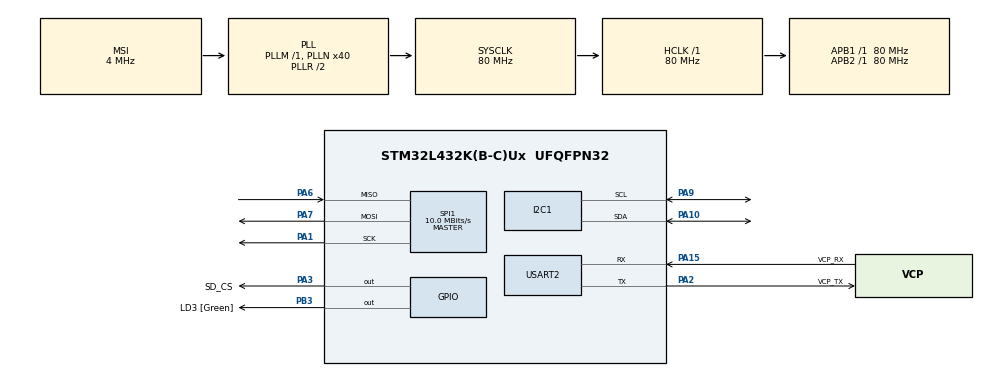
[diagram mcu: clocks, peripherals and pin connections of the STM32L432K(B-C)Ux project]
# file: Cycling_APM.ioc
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FATFS._MAX_SS=4096
FATFS._USE_LFN=1
I2C1.Timing=0x10909CEC
Mcu.Family=STM32L4
Mcu.Name=STM32L432K(B-C)Ux
Mcu.Package=UFQFPN32
NVIC.PriorityGroup=NVIC_PRIORITYGROUP_4
NVIC.TIM1_UP_TIM16_IRQn=true\:0\:0\:false\:false\:true\:true\:true\:true
PA0.GPIO_Label=MCO [High speed clock in]
PA0.Mode=HSE-External-Clock-Source-for-LittleOrca
PA0.Signal=RCC_CK_IN
PA1.Mode=Full_Duplex_Master
PA1.Signal=SPI1_SCK
PA10.Mode=I2C
PA10.Signal=I2C1_SDA
PA13\ (JTMS-SWDIO).GPIO_Label=SWDIO
PA13\ (JTMS-SWDIO).Mode=Serial_Wire
PA13\ (JTMS-SWDIO).Signal=SYS_JTMS-SWDIO
PA14\ (JTCK-SWCLK).GPIO_Label=SWCLK
PA14\ (JTCK-SWCLK).Mode=Serial_Wire
PA14\ (JTCK-SWCLK).Signal=SYS_JTCK-SWCLK
PA15\ (JTDI).GPIO_Label=VCP_RX
PA15\ (JTDI).Mode=Asynchronous
PA15\ (JTDI).Signal=USART2_RX
PA2.GPIO_Label=VCP_TX
PA2.Mode=Asynchronous
PA2.Signal=USART2_TX
PA3.GPIO_Label=SD_CS
PA3.Signal=GPIO_Output
PA6.Mode=Full_Duplex_Master
PA6.Signal=SPI1_MISO
PA7.Mode=Full_Duplex_Master
PA7.Signal=SPI1_MOSI
PA9.Mode=I2C
PA9.Signal=I2C1_SCL
PB3\ (JTDO-TRACESWO).GPIO_Label=LD3 [Green]
PB3\ (JTDO-TRACESWO).Signal=GPIO_Output
PC14-OSC32_IN\ (PC14).Mode=LSE-External-Oscillator
PC14-OSC32_IN\ (PC14).Signal=RCC_OSC32_IN
PC15-OSC32_OUT\ (PC15).Mode=LSE-External-Oscillator
PC15-OSC32_OUT\ (PC15).Signal=RCC_OSC32_OUT
ProjectManager.HeapSize=0x200
ProjectManager.StackSize=0x400
ProjectManager.TargetToolchain=STM32CubeIDE
RCC.ADCFreq_Value=16000000
RCC.AHBFreq_Value=80000000
RCC.APB1Freq_Value=80000000
RCC.APB1TimFreq_Value=80000000
RCC.APB2Freq_Value=80000000
RCC.APB2TimFreq_Value=80000000
RCC.CortexFreq_Value=80000000
RCC.HCLKFreq_Value=80000000
RCC.HSE_VALUE=8000000
RCC.HSI16_VALUE=16000000
RCC.HSI48_VALUE=48000000
RCC.HSI_VALUE=16000000
RCC.MSI_VALUE=4000000
RCC.PLLMUL=RCC_PLLMUL_4
RCC.PLLN=40
RCC.SYSCLKFreq_VALUE=80000000
RCC.SYSCLKSource=RCC_SYSCLKSOURCE_PLLCLK
RCC.USBFreq_Value=16000000
RCC.VCOOutputFreq_Value=160000000
SPI1.BaudRatePrescaler=SPI_BAUDRATEPRESCALER_8
SPI1.CalculateBaudRate=10.0 MBits/s
SPI1.DataSize=SPI_DATASIZE_8BIT
SPI1.Direction=SPI_DIRECTION_2LINES
SPI1.Mode=SPI_MODE_MASTER
SPI1.VirtualType=VM_MASTER
TIM16.Period=10000 - 1
TIM16.Prescaler=8000 - 1
USART2.VirtualMode-Asynchronous=VM_ASYNC
VP_FATFS_VS_Generic.Mode=User_defined
VP_TIM16_VS_ClockSourceINT.Mode=Enable_Timer
board=NUCLEO-L432KC

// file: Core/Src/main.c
/* USER CODE BEGIN Header */
/**
 ******************************************************************************
 * @file           : main.c
 * @brief          : Main program body
 ******************************************************************************
 * @attention
 *
 * Copyright (c) 2022 STMicroelectronics.
 * All rights reserved.
 *
 * This software is licensed under terms that can be found in the LICENSE file
 * in the root directory of this software component.
 * If no LICENSE file comes with this software, it is provided AS-IS.
 *
 ******************************************************************************
 */
/* USER CODE END Header */
#include "main.h"
#include "fatfs.h"

/* USER CODE BEGIN Includes */
#include "string.h"
#include "stdio.h"

#include "fatfs_sd.h"
#include "dfr_no2_co.h"
#include "particulate_matter.h"
#include "sht40.h"
#include "ds3231.h"
#include "MAFilter.h"
/* USER CODE END Includes */

I2C_HandleTypeDef hi2c1;

SPI_HandleTypeDef hspi1;

TIM_HandleTypeDef htim16;

UART_HandleTypeDef huart2;

/* USER CODE BEGIN PV */
MAFilter MA_PM[3];
MAFilter MA_MICS[2];

/* USER CODE END PV */

void SystemClock_Config(void);
static void MX_GPIO_Init(void);
static void MX_USART2_UART_Init(void);
static void MX_I2C1_Init(void);
static void MX_TIM16_Init(void);
static void MX_SPI1_Init(void);

/* USER CODE BEGIN 0 */

uint8_t warmUpTimer; //delete
char str1[80];  // delete

FATFS fs;	// File system
FIL fil;	// File
FRESULT fresult; // To store results
char buffer[1024]; // To store data

UINT br, bw; // File read/write count

/* Capacity related variables */
FATFS *pfs;
DWORD fre_clust;
uint32_t total, free_space;

/* Registers for interfacing with the sensor */

void send_uart(char *string) {
	uint8_t len = strlen(string);

	HAL_UART_Transmit(&huart2, (uint8_t*) string, len, 2000); // Transmit in blocking mode
}

/* To find the size of the data in the buffer */
int bufSize(char *buf) {
	int i = 0;
	while (*buf++ != '\0')
		i++;
	return i;
}

/* To clear the buffer */
void bufClear(void) {

	for (int i = 0; i < 1024; i++) {
		buffer[i] = 0;
	}
}

/* USER CODE END 0 */

int main(void) {
	/* USER CODE BEGIN 1 */
	dfr_data dfr_s;
	pm_data pm_s;
	sht40_data sht40_s;
	ds3231_data ds3231_s;

	float PM[3];
	float MICS[3];
	/* USER CODE END 1 */

	/* MCU Configuration--------------------------------------------------------*/

	/* Reset of all peripherals, Initializes the Flash interface and the Systick. */
	HAL_Init();

	/* Configure the system clock */
	SystemClock_Config();

	/* Initialize all configured peripherals */
	MX_GPIO_Init();
	MX_USART2_UART_Init();
	MX_I2C1_Init();
	MX_TIM16_Init();
	MX_SPI1_Init();
	MX_FATFS_Init();
	/* USER CODE BEGIN 2 */
	dfr_initialise(&dfr_s, &hi2c1);
	pm_initialise(&pm_s, &hi2c1);
	sht40_initialise(&sht40_s, &hi2c1);
	ds3231_initialise(&ds3231_s, &hi2c1);

	HAL_StatusTypeDef status;
	char strDate[10];
	char strPm[20];

	char str[255];

	status = dfrWakeUp(&dfr_s);
	if (status != HAL_OK) {
		send_uart("Error\n\r");
	} else {
		send_uart("Device is woken up\r\n");
	}
	// Start Timer
	HAL_TIM_Base_Start_IT(&htim16);
	while (warmUpTimer <= 180)
		;
	HAL_TIM_Base_Stop_IT(&htim16);

	status = dfrWarmUpData(&dfr_s);
	if (status != HAL_OK) {
		send_uart("Error\n\r");
	} else {
		send_uart("Initial values calculated\r\n");
	}
	/* Mount SD Card */

	fresult = f_mount(&fs, "/", 1);
	if (fresult == FR_OK) {
		send_uart("SD card mounted successfully ...\n\r");
	} else {
		send_uart("error in mounting sd card ... \n\r");
	}

	/***** Card Capacity Details ********/

	/* Check free space */
	f_getfree("", &free_space, &pfs);

	total = (uint32_t) ((pfs->n_fatent - 2) * pfs->csize * 0.5);
	sprintf(buffer, "SD Card Total Size: \t%lu\n\r", total);
	send_uart(buffer);
	bufClear();
	free_space = (uint32_t) (fre_clust * pfs->csize * 0.5);
	send_uart(buffer);

	/* USER CODE END 2 */

	/* Infinite loop */
	/* USER CODE BEGIN WHILE */
	while (1) {
		status = getTime(&ds3231_s);
		if (status == HAL_ERROR) {
			send_uart("ERROR\n\r");
		} else {
			sprintf(strDate, "%02d:%02d:%02d", ds3231_s.hour, ds3231_s.minute,
					ds3231_s.second);
		}
		status = sht40_read(&sht40_s);
		if (status == HAL_TIMEOUT) {
			send_uart("Timeout\n\r");
		} else if (status == HAL_ERROR) {
			send_uart("Error\n\r");
		}

		status = pm_read(&pm_s);
		if (status == HAL_ERROR) {
			send_uart("Error\n\r");
		} else {
			PM[0] = MA_Update(&MA_PM[0], (float)pm_s.pm10_env);
			PM[1] = MA_Update(&MA_PM[1], (float)pm_s.pm25_env);
			PM[2] = MA_Update(&MA_PM[2], (float)pm_s.pm100_env);
			sprintf(strPm, "%d,%d,%d", (uint16_t)PM[0], (uint16_t)PM[1], (uint16_t)PM[2]);
		}

		status = getGasData(&dfr_s);
		if (status  == HAL_TIMEOUT) {
			send_uart("Timeout\n\r");
		} else if (status == HAL_ERROR) {
			send_uart("Error\n\r");
		}

		MICS[0] = MA_Update(&MA_MICS[0], dfr_s.co);
		MICS[1] = MA_Update(&MA_MICS[1], dfr_s.no2);

		sprintf(str, "%s,%.1f,%.1f,%s,%.3f,%.3f\r", strDate, sht40_s.temperature,
				sht40_s.humidity, strPm, MICS[0], MICS[1]
				);
		send_uart(str);

		/* Open a file to write */
		fresult = f_open(&fil, "sensor.txt", FA_OPEN_ALWAYS | FA_WRITE);
		fresult = f_lseek(&fil, f_size(&fil));

		/* Writing text */
		fresult = f_puts(str, &fil);
		/* Close file */
		f_close(&fil);

		HAL_GPIO_TogglePin(GPIOB, LD3_Pin);
		HAL_Delay(100);

		/* USER CODE END WHILE */
	}
}

void SystemClock_Config(void) {
	RCC_OscInitTypeDef RCC_OscInitStruct = { 0 };
	RCC_ClkInitTypeDef RCC_ClkInitStruct = { 0 };

	/** Configure the main internal regulator output voltage
	 */
	if (HAL_PWREx_ControlVoltageScaling(PWR_REGULATOR_VOLTAGE_SCALE1)
			!= HAL_OK) {
		Error_Handler();
	}

	/** Configure LSE Drive Capability
	 */
	HAL_PWR_EnableBkUpAccess();
	__HAL_RCC_LSEDRIVE_CONFIG(RCC_LSEDRIVE_LOW);

	/** Initializes the RCC Oscillators according to the specified parameters
	 * in the RCC_OscInitTypeDef structure.
	 */
	RCC_OscInitStruct.OscillatorType = RCC_OSCILLATORTYPE_LSE
			| RCC_OSCILLATORTYPE_MSI;
	RCC_OscInitStruct.LSEState = RCC_LSE_ON;
	RCC_OscInitStruct.MSIState = RCC_MSI_ON;
	RCC_OscInitStruct.MSICalibrationValue = 0;
	RCC_OscInitStruct.MSIClockRange = RCC_MSIRANGE_6;
	RCC_OscInitStruct.PLL.PLLState = RCC_PLL_ON;
	RCC_OscInitStruct.PLL.PLLSource = RCC_PLLSOURCE_MSI;
	RCC_OscInitStruct.PLL.PLLM = 1;
	RCC_OscInitStruct.PLL.PLLN = 40;
	RCC_OscInitStruct.PLL.PLLP = RCC_PLLP_DIV7;
	RCC_OscInitStruct.PLL.PLLQ = RCC_PLLQ_DIV2;
	RCC_OscInitStruct.PLL.PLLR = RCC_PLLR_DIV2;
	if (HAL_RCC_OscConfig(&RCC_OscInitStruct) != HAL_OK) {
		Error_Handler();
	}

	/** Initializes the CPU, AHB and APB buses clocks
	 */
	RCC_ClkInitStruct.ClockType = RCC_CLOCKTYPE_HCLK | RCC_CLOCKTYPE_SYSCLK
			| RCC_CLOCKTYPE_PCLK1 | RCC_CLOCKTYPE_PCLK2;
	RCC_ClkInitStruct.SYSCLKSource = RCC_SYSCLKSOURCE_PLLCLK;
	RCC_ClkInitStruct.AHBCLKDivider = RCC_SYSCLK_DIV1;
	RCC_ClkInitStruct.APB1CLKDivider = RCC_HCLK_DIV1;
	RCC_ClkInitStruct.APB2CLKDivider = RCC_HCLK_DIV1;

	if (HAL_RCC_ClockConfig(&RCC_ClkInitStruct, FLASH_LATENCY_4) != HAL_OK) {
		Error_Handler();
	}

	/** Enable MSI Auto calibration
	 */
	HAL_RCCEx_EnableMSIPLLMode();
}

static void MX_I2C1_Init(void) {

	hi2c1.Instance = I2C1;
	hi2c1.Init.Timing = 0x10909CEC;
	hi2c1.Init.OwnAddress1 = 0;
	hi2c1.Init.AddressingMode = I2C_ADDRESSINGMODE_7BIT;
	hi2c1.Init.DualAddressMode = I2C_DUALADDRESS_DISABLE;
	hi2c1.Init.OwnAddress2 = 0;
	hi2c1.Init.OwnAddress2Masks = I2C_OA2_NOMASK;
	hi2c1.Init.GeneralCallMode = I2C_GENERALCALL_DISABLE;
	hi2c1.Init.NoStretchMode = I2C_NOSTRETCH_DISABLE;
	if (HAL_I2C_Init(&hi2c1) != HAL_OK) {
		Error_Handler();
	}

	/** Configure Analogue filter
	 */
	if (HAL_I2CEx_ConfigAnalogFilter(&hi2c1, I2C_ANALOGFILTER_ENABLE)
			!= HAL_OK) {
		Error_Handler();
	}

	/** Configure Digital filter
	 */
	if (HAL_I2CEx_ConfigDigitalFilter(&hi2c1, 0) != HAL_OK) {
		Error_Handler();
	}

}

static void MX_SPI1_Init(void) {

	/* SPI1 parameter configuration*/
	hspi1.Instance = SPI1;
	hspi1.Init.Mode = SPI_MODE_MASTER;
	hspi1.Init.Direction = SPI_DIRECTION_2LINES;
	hspi1.Init.DataSize = SPI_DATASIZE_8BIT;
	hspi1.Init.CLKPolarity = SPI_POLARITY_LOW;
	hspi1.Init.CLKPhase = SPI_PHASE_1EDGE;
	hspi1.Init.NSS = SPI_NSS_SOFT;
	hspi1.Init.BaudRatePrescaler = SPI_BAUDRATEPRESCALER_8;
	hspi1.Init.FirstBit = SPI_FIRSTBIT_MSB;
	hspi1.Init.TIMode = SPI_TIMODE_DISABLE;
	hspi1.Init.CRCCalculation = SPI_CRCCALCULATION_DISABLE;
	hspi1.Init.CRCPolynomial = 7;
	hspi1.Init.CRCLength = SPI_CRC_LENGTH_DATASIZE;
	hspi1.Init.NSSPMode = SPI_NSS_PULSE_ENABLE;
	if (HAL_SPI_Init(&hspi1) != HAL_OK) {
		Error_Handler();
	}

}

static void MX_TIM16_Init(void) {

	htim16.Instance = TIM16;
	htim16.Init.Prescaler = 8000 - 1;
	htim16.Init.CounterMode = TIM_COUNTERMODE_UP;
	htim16.Init.Period = 10000 - 1;
	htim16.Init.ClockDivision = TIM_CLOCKDIVISION_DIV1;
	htim16.Init.RepetitionCounter = 0;
	htim16.Init.AutoReloadPreload = TIM_AUTORELOAD_PRELOAD_DISABLE;
	if (HAL_TIM_Base_Init(&htim16) != HAL_OK) {
		Error_Handler();
	}

}

static void MX_USART2_UART_Init(void) {

	huart2.Instance = USART2;
	huart2.Init.BaudRate = 115200;
	huart2.Init.WordLength = UART_WORDLENGTH_8B;
	huart2.Init.StopBits = UART_STOPBITS_1;
	huart2.Init.Parity = UART_PARITY_NONE;
	huart2.Init.Mode = UART_MODE_TX_RX;
	huart2.Init.HwFlowCtl = UART_HWCONTROL_NONE;
	huart2.Init.OverSampling = UART_OVERSAMPLING_16;
	huart2.Init.OneBitSampling = UART_ONE_BIT_SAMPLE_DISABLE;
	huart2.AdvancedInit.AdvFeatureInit = UART_ADVFEATURE_NO_INIT;
	if (HAL_UART_Init(&huart2) != HAL_OK) {
		Error_Handler();
	}

}

static void MX_GPIO_Init(void) {
	GPIO_InitTypeDef GPIO_InitStruct = { 0 };

	/* GPIO Ports Clock Enable */
	__HAL_RCC_GPIOC_CLK_ENABLE();
	__HAL_RCC_GPIOA_CLK_ENABLE();
	__HAL_RCC_GPIOB_CLK_ENABLE();

	/*Configure GPIO pin Output Level */
	HAL_GPIO_WritePin(SD_CS_GPIO_Port, SD_CS_Pin, GPIO_PIN_RESET);

	/*Configure GPIO pin Output Level */
	HAL_GPIO_WritePin(LD3_GPIO_Port, LD3_Pin, GPIO_PIN_RESET);

	/*Configure GPIO pin : SD_CS_Pin */
	GPIO_InitStruct.Pin = SD_CS_Pin;
	GPIO_InitStruct.Mode = GPIO_MODE_OUTPUT_PP;
	GPIO_InitStruct.Pull = GPIO_NOPULL;
	GPIO_InitStruct.Speed = GPIO_SPEED_FREQ_LOW;
	HAL_GPIO_Init(SD_CS_GPIO_Port, &GPIO_InitStruct);

	/*Configure GPIO pin : LD3_Pin */
	GPIO_InitStruct.Pin = LD3_Pin;
	GPIO_InitStruct.Mode = GPIO_MODE_OUTPUT_PP;
	GPIO_InitStruct.Pull = GPIO_NOPULL;
	GPIO_InitStruct.Speed = GPIO_SPEED_FREQ_LOW;
	HAL_GPIO_Init(LD3_GPIO_Port, &GPIO_InitStruct);

}

/* USER CODE BEGIN 4 */
void HAL_TIM_PeriodElapsedCallback(TIM_HandleTypeDef *htim) {
	if (htim == &htim16) {
		sprintf(str1, "Seconds passed: %d\r\n", warmUpTimer++);
		send_uart(str1);

	}
}
/* USER CODE END 4 */

void Error_Handler(void) {
	__disable_irq();
	while (1) {
	}
}
